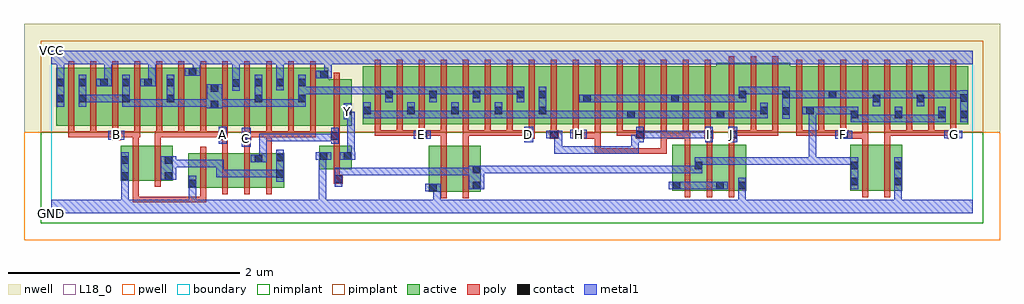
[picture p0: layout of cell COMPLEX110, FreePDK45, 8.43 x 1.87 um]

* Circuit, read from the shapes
.subckt COMPLEX110 A B C D E F G GND H I J VCC Y
M1 n1 B GND VSUBS nfet w=0.3u l=0.05u
M2 n2 A n1 VSUBS nfet w=0.3u l=0.05u
M3 n3 B GND VSUBS nfet w=0.3u l=0.05u
M4 n4 A n3 VSUBS nfet w=0.3u l=0.05u
M5 n5 C n4 VSUBS nfet w=0.3u l=0.05u
M6 n2 C n5 VSUBS nfet w=0.3u l=0.05u
M7 Y n5 GND VSUBS nfet w=0.2u l=0.05u
M8 n6 E GND VSUBS nfet w=0.4u l=0.05u
M9 n5 D n6 VSUBS nfet w=0.4u l=0.05u
M10 n5 H n7 VSUBS nfet w=0.4u l=0.05u
M11 n7 I n5 VSUBS nfet w=0.4u l=0.05u
M12 GND J n7 VSUBS nfet w=0.4u l=0.05u
M13 n8 F n5 VSUBS nfet w=0.4u l=0.05u
M14 GND G n8 VSUBS nfet w=0.4u l=0.05u
M15 n9 B VCC n10 pfet w=0.5u l=0.05u m=4
M16 n9 A VCC n10 pfet w=0.5u l=0.05u m=4
M17 n9 C VCC n10 pfet w=0.5u l=0.05u m=4
M18 Y n5 VCC n10 pfet w=0.4u l=0.05u
M19 n9 E n11 n10 pfet w=0.5u l=0.05u m=4
M20 n9 D n11 n10 pfet w=0.5u l=0.05u m=4
M21 n12 I n11 n10 pfet w=0.5u l=0.05u
M22 n13 H n12 n10 pfet w=0.5u l=0.05u
M23 n14 H n13 n10 pfet w=0.5u l=0.05u
M24 n11 I n14 n10 pfet w=0.5u l=0.05u
M25 n15 I n11 n10 pfet w=0.5u l=0.05u
M26 n13 H n15 n10 pfet w=0.5u l=0.05u
M27 n16 H n13 n10 pfet w=0.5u l=0.05u
M28 n11 I n16 n10 pfet w=0.5u l=0.05u
M29 n13 J n11 n10 pfet w=0.533u l=0.05u m=3
M30 n5 F n13 n10 pfet w=0.5u l=0.05u m=4
M31 n5 G n13 n10 pfet w=0.5u l=0.05u m=4
.ends

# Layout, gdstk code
import gdstk
lib = gdstk.Library(unit=1e-6, precision=1e-09)
def R(c, l, rs):  # rectangles x0, y0, x1, y1
    for r in rs: c.add(gdstk.rectangle(r[:2], r[2:], *l))
def A(c, l, x, y, w, h, nx, ny, dx, dy):  # array of equal rectangles
    R(c, l, [(x+i*dx, y+j*dy, x+i*dx+w, y+j*dy+h) for i in range(nx) for j in range(ny)])
active = (1, 0)
pwell = (2, 0)
nwell = (3, 0)
nimplant = (4, 0)
pimplant = (5, 0)
poly = (9, 0)
contact = (10, 0)
metal1 = (11, 0)
L18_0 = (18, 0)
boundary = (235, 0)

complex110 = lib.new_cell('COMPLEX110')
A(complex110, active, 2.69, 0.767, 0.265, 0.5, 4, 1, 0.19, 0)
A(complex110, active, 2.69, 0.767, 0.075, 0.303, 3, 1, 0.38, 0)
A(complex110, active, 3.635, 0.767, 0.265, 0.5, 3, 1, 0.19, 0)
A(complex110, active, 4.435, 0.767, 0.23, 0.5, 3, 1, 0.38, 0)
A(complex110, active, 4.59, 0.767, 0.225, 0.5, 3, 1, 0.38, 0)
A(complex110, active, 6.71, 0.767, 0.265, 0.5, 4, 1, 0.19, 0)
A(complex110, active, 6.71, 0.807, 0.075, 0.393, 3, 1, 0.38, 0)
R(complex110, active, [(3.26,0.182,3.335,0.582), (3.26,0.182,3.485,0.582), (3.485,0.182,3.71,0.582), (5.365,0.192,5.63,0.592), (5.555,0.192,5.815,0.592), (5.74,0.192,6.005,0.592), (5.93,0.192,6.005,0.592), (6.9,0.192,7.125,0.592), (7.125,0.192,7.35,0.592), (7.275,0.192,7.35,0.592), (3.635,0.2,3.71,0.582), (5.365,0.2,5.44,0.592), (5.74,0.2,5.815,0.492), (6.9,0.2,6.975,0.592), (1.182,0.217,1.257,0.517), (1.182,0.217,1.407,0.517), (1.407,0.217,1.597,0.517), (1.597,0.217,1.827,0.517), (1.752,0.217,2.012,0.517), (1.937,0.217,2.012,0.517), (5.555,0.245,5.63,0.492), (0.6,0.28,0.825,0.58), (0.825,0.28,1.05,0.58), (0.975,0.28,1.05,0.58), (0.6,0.282,0.675,0.58), (1.752,0.33,1.827,0.51), (2.315,0.38,2.39,0.58), (2.315,0.38,2.597,0.58), (2.522,0.38,2.597,0.58), (0.042,0.755,0.307,1.255), (0.042,0.755,0.117,1.255), (0.232,0.755,0.492,1.255), (0.417,0.755,0.682,1.255), (0.607,0.755,0.872,1.255), (0.797,0.755,1.067,1.255), (0.992,0.755,1.257,1.255), (1.182,0.755,1.447,1.255), (1.372,0.755,1.632,1.255), (1.557,0.755,1.827,1.255), (1.752,0.755,2.012,1.255), (1.752,0.755,1.827,1.2), (1.937,0.755,2.202,1.255), (2.127,0.755,2.392,1.255), (2.317,0.755,2.597,1.155), (2.522,0.755,2.597,1.07), (3.45,0.767,3.71,1.267), (3.825,0.767,3.9,1.07), (4.205,0.767,4.435,1.267), (4.97,0.767,5.045,1.07), (5.575,0.767,5.82,1.267), (5.745,0.767,5.82,1.07), (5.745,0.767,6.01,1.3), (5.935,0.767,6.195,1.3), (6.12,0.767,6.195,1.07), (6.12,0.767,6.385,1.3), (6.31,0.767,6.385,1.2), (6.31,0.767,6.59,1.267), (6.515,0.767,6.59,1.07), (6.515,0.767,6.785,1.267), (6.9,0.767,6.975,1.07), (7.28,0.767,7.355,1.07), (7.47,0.767,7.73,1.267), (7.655,0.767,7.92,1.267), (7.655,0.767,7.73,1.07), (7.845,0.767,7.92,1.2), (5.935,0.775,6.01,1.2), (0.232,0.807,0.307,1.2), (0.417,0.807,0.492,1.255), (0.607,0.807,0.682,1.2), (0.797,0.807,0.872,1.255), (0.992,0.807,1.067,1.2), (1.182,0.807,1.257,1.255), (1.372,0.807,1.447,1.2), (1.557,0.807,1.632,1.255), (1.937,0.807,2.012,1.255), (2.127,0.807,2.202,1.2), (2.88,0.807,2.955,1.2), (3.26,0.807,3.335,1.2), (3.635,0.807,3.71,1.2), (4.015,0.807,4.09,1.2), (4.205,0.807,4.28,1.2), (4.59,0.807,4.665,1.2), (5.35,0.807,5.425,1.2), (2.317,0.835,2.392,1.235)])
R(complex110, pwell, [(-0.235,-0.235,8.195,0.7)])
R(complex110, nwell, [(-0.235,0.7,8.195,1.635)])
R(complex110, nimplant, [(-0.09,-0.09,8.05,0.7)])
R(complex110, pimplant, [(-0.09,0.7,8.05,1.49)])
A(complex110, poly, 5.47, 0.137, 0.05, 0.51, 3, 1, 0.19, 0)
A(complex110, poly, 1.287, 0.162, 0.05, 0.41, 4, 1, 0.19, 0)
A(complex110, poly, 5.47, 0.597, 0.05, 0.095, 3, 1, 0.19, 0)
A(complex110, poly, 0.147, 0.655, 0.05, 0.095, 12, 1, 0.19, 0)
A(complex110, poly, 1.857, 0.655, 0.05, 0.05, 3, 1, 0.19, 0)
A(complex110, poly, 2.795, 0.667, 0.05, 0.095, 10, 1, 0.19, 0)
A(complex110, poly, 3.555, 0.667, 0.05, 0.05, 3, 1, 0.19, 0)
A(complex110, poly, 5.85, 0.667, 0.05, 0.095, 3, 1, 0.19, 0)
A(complex110, poly, 6.435, 0.667, 0.05, 0.095, 3, 1, 0.19, 0)
A(complex110, poly, 7.195, 0.667, 0.05, 0.095, 4, 1, 0.19, 0)
A(complex110, poly, 7.195, 0.667, 0.05, 0.05, 3, 1, 0.19, 0)
A(complex110, poly, 0.147, 0.7, 0.05, 0.61, 12, 1, 0.19, 0)
A(complex110, poly, 2.795, 0.712, 0.05, 0.61, 16, 1, 0.19, 0)
A(complex110, poly, 5.85, 0.712, 0.05, 0.643, 3, 1, 0.19, 0)
A(complex110, poly, 6.435, 0.712, 0.05, 0.61, 8, 1, 0.19, 0)
R(complex110, poly, [(0.705,0.092,0.755,0.142), (0.705,0.092,0.755,0.275), (0.705,0.092,1.015,0.142), (0.965,0.092,1.015,0.142), (0.965,0.092,1.015,0.142), (0.965,0.092,1.015,0.142), (0.965,0.092,1.147,0.142), (1.097,0.092,1.147,0.142), (1.097,0.092,1.147,0.142), (1.097,0.092,1.147,0.142), (1.097,0.092,1.337,0.142), (1.287,0.092,1.337,0.142), (1.287,0.092,1.337,0.142), (1.287,0.092,1.337,0.142), (1.287,0.092,1.337,0.212), (3.365,0.127,3.415,0.637), (3.555,0.127,3.605,0.637), (7.005,0.137,7.055,0.647), (7.195,0.137,7.245,0.647), (0.705,0.225,0.755,0.635), (0.895,0.225,0.945,0.635), (2.442,0.255,2.517,0.33), (2.442,0.28,2.492,0.375), (2.442,0.325,2.492,0.635), (4.695,0.51,4.745,0.56), (4.695,0.51,4.745,0.56), (4.695,0.51,4.745,0.56), (4.695,0.51,4.745,0.56), (4.695,0.51,4.745,0.56), (4.695,0.51,4.745,0.692), (4.695,0.51,4.967,0.56), (4.917,0.51,4.967,0.56), (4.917,0.51,4.967,0.56), (4.917,0.51,4.967,0.56), (4.917,0.51,5.182,0.56), (5.132,0.51,5.182,0.56), (5.132,0.51,5.182,0.56), (5.132,0.51,5.182,0.56), (5.132,0.51,5.315,0.56), (5.265,0.51,5.315,0.56), (5.265,0.51,5.315,0.56), (5.265,0.51,5.315,0.56), (5.265,0.51,5.315,0.692), (1.477,0.522,1.527,0.68), (1.667,0.522,1.717,0.68), (1.857,0.522,1.907,0.705), (0.705,0.585,0.755,0.705), (0.895,0.585,0.945,0.705), (2.442,0.585,2.492,0.68), (3.365,0.587,3.415,0.717), (3.555,0.587,3.605,0.717), (7.005,0.597,7.055,0.692), (7.195,0.597,7.245,0.717), (0.527,0.63,0.602,0.705), (1.447,0.63,1.527,0.705), (1.652,0.63,1.727,0.705), (2.415,0.63,2.492,0.705), (3.175,0.642,3.25,0.717), (4.095,0.642,4.175,0.717), (4.307,0.642,4.382,0.717), (4.505,0.642,4.59,0.717), (4.54,0.642,4.59,0.692), (4.54,0.642,4.59,0.692), (4.54,0.642,4.745,0.692), (4.695,0.642,4.745,0.692), (4.695,0.642,4.745,0.762), (5.05,0.642,5.125,0.717), (5.265,0.642,5.315,0.692), (5.265,0.642,5.505,0.692), (5.265,0.642,5.315,0.762), (5.455,0.642,5.505,0.692), (5.455,0.642,5.505,0.692), (5.455,0.642,5.505,0.762), (5.455,0.642,5.52,0.692), (5.642,0.642,5.717,0.717), (5.85,0.642,5.925,0.717), (6.812,0.642,6.887,0.717), (6.837,0.642,7.055,0.692), (7.005,0.642,7.055,0.692), (7.005,0.642,7.055,0.692), (7.005,0.642,7.055,0.692), (7.005,0.642,7.055,0.762), (7.742,0.642,7.817,0.717), (0.147,0.655,0.197,0.705), (0.147,0.655,0.197,0.705), (0.147,0.655,0.197,0.705), (0.147,0.655,0.387,0.705), (0.337,0.655,0.387,0.705), (0.337,0.655,0.387,0.705), (0.337,0.655,0.387,0.705), (0.337,0.655,0.577,0.705), (0.552,0.655,0.755,0.705), (0.705,0.655,0.755,0.705), (0.705,0.655,0.755,0.705), (0.705,0.655,0.767,0.705), (0.895,0.655,0.957,0.705), (0.907,0.655,1.147,0.705), (1.097,0.655,1.147,0.705), (1.097,0.655,1.147,0.705), (1.097,0.655,1.147,0.705), (1.097,0.655,1.337,0.705), (1.287,0.655,1.337,0.705), (1.287,0.655,1.337,0.705), (1.287,0.655,1.337,0.705), (1.287,0.655,1.497,0.705), (1.447,0.655,1.497,0.705), (1.447,0.655,1.497,0.705), (1.677,0.655,1.727,0.705), (1.677,0.655,1.727,0.705), (1.677,0.655,1.907,0.705), (1.857,0.655,1.907,0.705), (1.857,0.655,1.907,0.705), (1.857,0.655,2.097,0.705), (2.047,0.655,2.287,0.705), (2.237,0.655,2.287,0.705), (2.237,0.655,2.287,0.705), (2.442,0.655,2.492,0.75), (2.795,0.667,2.845,0.717), (2.795,0.667,2.845,0.717), (2.795,0.667,2.845,0.717), (2.795,0.667,3.035,0.717), (2.985,0.667,3.035,0.717), (2.985,0.667,3.035,0.717), (2.985,0.667,3.035,0.717), (2.985,0.667,3.225,0.717), (3.2,0.667,3.415,0.717), (3.365,0.667,3.415,0.717), (3.365,0.667,3.415,0.717), (3.365,0.667,3.415,0.717), (3.555,0.667,3.605,0.717), (3.555,0.667,3.605,0.717), (3.555,0.667,3.795,0.717), (3.745,0.667,3.985,0.717), (3.935,0.667,3.985,0.717), (3.935,0.667,3.985,0.717), (3.935,0.667,4.145,0.717), (4.095,0.667,4.145,0.717), (4.095,0.667,4.145,0.717), (4.885,0.667,4.935,0.762), (4.885,0.667,4.935,0.717), (4.885,0.667,4.935,0.717), (4.885,0.667,4.935,0.717), (4.885,0.667,5.1,0.717), (5.075,0.667,5.125,0.762), (5.645,0.667,5.695,0.762), (5.875,0.667,5.925,0.717), (5.875,0.667,5.925,0.717), (5.875,0.667,6.09,0.717), (6.04,0.667,6.09,0.717), (6.04,0.667,6.28,0.717), (6.23,0.667,6.28,0.717), (6.23,0.667,6.28,0.717), (6.23,0.667,6.28,0.717), (6.435,0.667,6.485,0.717), (6.435,0.667,6.485,0.717), (6.435,0.667,6.485,0.717), (6.435,0.667,6.675,0.717), (6.625,0.667,6.675,0.717), (6.625,0.667,6.675,0.717), (6.625,0.667,6.675,0.717), (6.625,0.667,6.862,0.717), (7.195,0.667,7.245,0.717), (7.195,0.667,7.245,0.717), (7.195,0.667,7.435,0.717), (7.385,0.667,7.625,0.717), (7.575,0.667,7.625,0.717), (7.575,0.667,7.625,0.717), (7.575,0.667,7.792,0.717), (7.742,0.667,7.792,0.717), (7.742,0.667,7.792,0.717), (2.442,0.7,2.492,1.21)])
A(complex110, contact, 2.695, 0.855, 0.065, 0.065, 3, 1, 0.38, 0)
A(complex110, contact, 0.422, 1.095, 0.065, 0.065, 3, 1, 0.19, 0)
R(complex110, contact, [(3.265,0.187,3.33,0.252), (3.64,0.205,3.705,0.27), (5.37,0.205,5.435,0.27), (5.745,0.205,5.81,0.27), (5.935,0.205,6,0.27), (1.187,0.222,1.252,0.287), (6.905,0.24,6.97,0.305), (7.28,0.24,7.345,0.305), (2.447,0.26,2.512,0.325), (0.605,0.287,0.67,0.352), (0.98,0.287,1.045,0.352), (1.942,0.307,2.007,0.372), (3.64,0.345,3.705,0.41), (5.56,0.377,5.625,0.442), (6.905,0.38,6.97,0.445), (7.28,0.38,7.345,0.445), (0.605,0.427,0.67,0.492), (0.98,0.427,1.045,0.492), (1.757,0.44,1.822,0.505), (1.942,0.447,2.007,0.512), (2.32,0.462,2.385,0.527), (2.527,0.462,2.592,0.527), (0.532,0.635,0.597,0.7), (1.452,0.635,1.517,0.7), (1.657,0.635,1.722,0.7), (2.42,0.635,2.485,0.7), (3.18,0.647,3.245,0.712), (4.1,0.647,4.165,0.712), (4.312,0.647,4.377,0.712), (4.52,0.647,4.585,0.712), (5.055,0.647,5.12,0.712), (5.647,0.647,5.712,0.712), (5.855,0.647,5.92,0.712), (6.817,0.647,6.882,0.712), (7.747,0.647,7.812,0.712), (4.975,0.82,5.04,0.885), (5.75,0.82,5.815,0.885), (6.905,0.82,6.97,0.885), (7.285,0.82,7.35,0.885), (7.66,0.82,7.725,0.885), (7.85,0.82,7.915,0.885), (2.527,0.847,2.592,0.912), (6.315,0.85,6.38,0.915), (4.21,0.852,4.275,0.917), (6.125,0.852,6.19,0.917), (3.83,0.855,3.895,0.92), (6.52,0.855,6.585,0.92), (1.377,0.907,1.442,0.972), (0.047,0.955,0.112,1.02), (0.237,0.955,0.302,1.02), (0.612,0.955,0.677,1.02), (0.997,0.955,1.062,1.02), (1.757,0.955,1.822,1.02), (2.132,0.955,2.197,1.02), (4.595,0.957,4.66,1.022), (5.355,0.957,5.42,1.022), (7.095,0.957,7.16,1.022), (7.475,0.957,7.54,1.022), (7.85,0.96,7.915,1.025), (6.315,0.99,6.38,1.055), (2.885,0.992,2.95,1.057), (3.265,0.992,3.33,1.057), (3.64,0.992,3.705,1.057), (4.02,0.992,4.085,1.057), (4.21,0.992,4.275,1.057), (5.94,0.992,6.005,1.057), (6.715,0.992,6.78,1.057), (1.377,1.047,1.442,1.112), (1.562,1.092,1.627,1.157), (0.047,1.095,0.112,1.16), (0.237,1.095,0.302,1.16), (0.997,1.095,1.062,1.16), (1.757,1.095,1.822,1.16), (1.942,1.095,2.007,1.16), (2.132,1.095,2.197,1.16), (2.322,1.165,2.387,1.23), (1.187,1.185,1.252,1.25)])
A(complex110, metal1, 2.695, 0.82, 0.065, 0.135, 3, 1, 0.38, 0)
A(complex110, metal1, 3.66, 0.82, 0.202, 0.065, 3, 1, 0.275, 0)
R(complex110, metal1, [(0,0,7.96,0.115), (0.605,0.05,0.67,0.115), (0.605,0.05,0.67,0.115), (0.605,0.05,0.67,0.115), (0.605,0.05,0.67,0.115), (0.605,0.05,0.67,0.317), (1.187,0.05,1.252,0.115), (1.187,0.05,1.252,0.115), (1.187,0.05,1.252,0.115), (1.187,0.05,1.252,0.115), (1.187,0.05,1.252,0.252), (2.31,0.05,2.375,0.115), (2.31,0.05,2.375,0.115), (2.31,0.05,2.375,0.115), (2.31,0.05,2.375,0.115), (2.31,0.05,2.375,0.115), (2.31,0.05,2.375,0.115), (2.31,0.05,2.375,0.527), (3.3,0.05,3.365,0.115), (3.3,0.05,3.365,0.115), (3.3,0.05,3.365,0.252), (5.935,0.05,6,0.235), (7.28,0.05,7.345,0.115), (7.28,0.05,7.345,0.115), (7.28,0.05,7.345,0.27), (5.935,0.17,6,0.235), (5.935,0.17,6,0.235), (5.935,0.17,6,0.305), (1.187,0.187,1.252,0.322), (3.23,0.187,3.365,0.252), (3.605,0.205,3.74,0.41), (5.335,0.205,5.47,0.27), (5.405,0.205,5.487,0.27), (5.422,0.205,5.487,0.27), (5.422,0.205,5.607,0.27), (5.542,0.205,5.607,0.27), (5.542,0.205,5.775,0.27), (5.71,0.205,5.775,0.27), (5.71,0.205,5.775,0.27), (5.71,0.205,5.845,0.27), (6.905,0.205,6.97,0.48), (7.28,0.205,7.345,0.48), (2.447,0.225,2.512,0.36), (0.605,0.252,0.67,0.527), (1.942,0.272,2.007,0.547), (0.945,0.287,1.08,0.492), (2.447,0.295,2.512,0.36), (2.447,0.295,2.512,0.39), (1.427,0.31,1.63,0.375), (1.427,0.31,1.492,0.46), (1.565,0.31,1.63,0.375), (1.565,0.31,1.63,0.375), (1.565,0.31,1.63,0.375), (1.565,0.31,1.787,0.375), (1.722,0.31,1.787,0.375), (1.722,0.31,2.007,0.375), (1.942,0.31,2.007,0.375), (1.942,0.31,2.007,0.375), (2.447,0.325,2.65,0.39), (2.585,0.325,2.65,0.39), (2.585,0.325,2.73,0.39), (2.665,0.325,2.73,0.39), (2.665,0.325,3.002,0.39), (2.937,0.325,3.002,0.39), (2.937,0.325,3.002,0.39), (2.937,0.325,3.002,0.39), (2.937,0.325,3.157,0.39), (3.092,0.325,3.157,0.39), (3.092,0.325,3.157,0.39), (3.092,0.325,3.157,0.39), (3.092,0.325,3.33,0.39), (3.265,0.325,3.33,0.39), (3.265,0.325,3.33,0.39), (3.265,0.325,3.33,0.39), (3.265,0.325,3.467,0.39), (3.402,0.325,3.467,0.39), (3.402,0.325,3.67,0.39), (3.605,0.325,3.67,0.39), (3.605,0.325,3.67,0.39), (3.675,0.342,3.862,0.407), (3.797,0.342,3.862,0.407), (3.797,0.342,3.895,0.407), (3.83,0.342,3.895,0.407), (3.83,0.342,4,0.407), (3.935,0.342,4,0.407), (3.935,0.342,4.137,0.407), (4.072,0.342,4.137,0.407), (4.072,0.342,4.137,0.407), (4.072,0.342,4.137,0.407), (4.072,0.342,4.275,0.407), (4.21,0.342,4.275,0.407), (4.21,0.342,4.412,0.407), (4.347,0.342,4.412,0.407), (4.347,0.342,4.412,0.407), (4.347,0.342,4.412,0.407), (4.347,0.342,4.695,0.407), (4.63,0.342,4.695,0.407), (4.63,0.342,4.695,0.407), (4.63,0.342,4.695,0.407), (4.63,0.342,4.845,0.407), (4.78,0.342,4.845,0.407), (4.78,0.342,4.867,0.407), (4.802,0.342,4.867,0.407), (4.802,0.342,4.982,0.407), (4.917,0.342,4.982,0.407), (4.917,0.342,5.005,0.407), (4.94,0.342,5.005,0.407), (4.94,0.342,5.212,0.407), (5.147,0.342,5.212,0.407), (5.147,0.342,5.212,0.407), (5.147,0.342,5.212,0.407), (5.147,0.342,5.35,0.407), (5.285,0.342,5.35,0.407), (5.285,0.342,5.35,0.407), (5.285,0.342,5.35,0.407), (5.285,0.342,5.487,0.407), (5.422,0.342,5.487,0.407), (5.422,0.342,5.625,0.407), (5.56,0.342,5.625,0.477), (1.015,0.395,1.217,0.46), (1.152,0.395,1.217,0.46), (1.152,0.395,1.217,0.46), (1.152,0.395,1.217,0.46), (1.152,0.395,1.355,0.46), (1.29,0.395,1.355,0.46), (1.29,0.395,1.355,0.46), (1.29,0.395,1.355,0.46), (1.29,0.395,1.492,0.46), (5.56,0.412,5.625,0.477), (5.56,0.412,5.625,0.48), (5.56,0.415,5.762,0.48), (5.697,0.415,5.762,0.48), (5.697,0.415,5.912,0.48), (5.847,0.415,5.912,0.48), (5.847,0.415,6.052,0.48), (5.987,0.415,6.052,0.48), (5.987,0.415,6.052,0.48), (5.987,0.415,6.052,0.48), (5.987,0.415,6.242,0.48), (6.177,0.415,6.242,0.48), (6.177,0.415,6.242,0.48), (6.177,0.415,6.242,0.48), (6.177,0.415,6.38,0.48), (6.315,0.415,6.38,0.48), (6.315,0.415,6.38,0.48), (6.315,0.415,6.38,0.48), (6.315,0.415,6.607,0.48), (6.542,0.415,6.607,0.48), (6.542,0.415,6.607,0.48), (6.542,0.415,6.607,0.48), (6.542,0.415,6.832,0.48), (6.542,0.415,6.607,0.617), (6.767,0.415,6.832,0.48), (6.767,0.415,6.832,0.48), (6.767,0.415,6.832,0.48), (6.767,0.415,6.97,0.48), (1.722,0.44,1.86,0.505), (1.795,0.44,1.86,0.687), (2.285,0.462,2.42,0.527), (2.492,0.462,2.627,0.527), (2.557,0.462,2.622,0.527), (2.557,0.462,2.622,0.527), (2.557,0.462,2.622,0.877), (4.347,0.51,4.412,0.575), (4.347,0.51,4.412,0.712), (4.347,0.51,4.695,0.575), (4.63,0.51,4.695,0.575), (4.63,0.51,4.695,0.575), (4.63,0.51,4.695,0.575), (4.63,0.51,4.832,0.575), (4.767,0.51,4.832,0.575), (4.767,0.51,4.832,0.575), (4.767,0.51,4.832,0.575), (4.767,0.51,4.982,0.575), (4.917,0.51,4.982,0.575), (4.917,0.51,5.075,0.575), (5.01,0.51,5.075,0.575), (5.01,0.51,5.075,0.677), (6.542,0.552,6.607,0.617), (6.542,0.552,6.607,0.617), (6.542,0.552,6.607,0.617), (6.542,0.552,6.607,0.92), (1.647,0.572,1.722,0.735), (1.447,0.6,1.517,0.747), (2.42,0.6,2.485,0.735), (4.085,0.612,4.165,0.747), (5.01,0.612,5.075,0.677), (5.01,0.612,5.12,0.677), (5.055,0.612,5.12,0.747), (5.647,0.612,5.712,0.747), (5.847,0.612,5.927,0.747), (2.132,0.62,2.197,0.685), (2.132,0.62,2.197,0.685), (2.132,0.62,2.347,0.685), (2.132,0.62,2.197,0.687), (2.282,0.62,2.347,0.685), (2.282,0.62,2.347,0.685), (2.282,0.62,2.347,0.685), (2.282,0.62,2.485,0.685), (1.795,0.622,1.86,0.687), (1.795,0.622,2.06,0.687), (1.995,0.622,2.06,0.687), (1.995,0.622,2.06,0.687), (1.995,0.622,2.06,0.687), (1.995,0.622,2.197,0.687), (0.492,0.635,0.632,0.712), (6.772,0.64,6.917,0.712), (3.132,0.642,3.28,0.712), (4.277,0.647,4.412,0.712), (4.347,0.647,4.412,0.712), (4.347,0.647,4.412,0.712), (4.485,0.647,4.627,0.72), (5.055,0.647,5.212,0.712), (5.147,0.647,5.212,0.712), (5.147,0.647,5.35,0.712), (5.285,0.647,5.35,0.712), (5.285,0.647,5.35,0.712), (5.285,0.647,5.35,0.712), (5.285,0.647,5.487,0.712), (5.422,0.647,5.487,0.712), (5.422,0.647,5.607,0.712), (5.542,0.647,5.607,0.712), (5.542,0.647,5.712,0.712), (7.712,0.647,7.867,0.712), (6.905,0.785,6.97,0.92), (6.905,0.785,6.995,0.85), (6.93,0.785,6.995,0.85), (6.93,0.785,7.16,0.85), (7.095,0.785,7.16,0.85), (7.095,0.785,7.16,0.85), (7.095,0.785,7.16,0.85), (7.095,0.785,7.35,0.85), (7.285,0.785,7.35,0.85), (7.285,0.785,7.35,0.85), (7.285,0.785,7.35,0.92), (7.285,0.785,7.54,0.85), (7.475,0.785,7.54,0.85), (7.475,0.785,7.54,0.85), (7.475,0.785,7.54,0.85), (7.475,0.785,7.725,0.85), (7.66,0.785,7.725,0.92), (7.85,0.785,7.915,1.06), (2.527,0.812,2.592,0.877), (2.527,0.812,2.592,0.947), (2.527,0.812,2.622,0.877), (6.315,0.815,6.38,1.09), (4.21,0.817,4.275,1.092), (6.125,0.817,6.19,0.952), (2.695,0.82,2.76,0.885), (2.695,0.82,2.76,0.885), (2.695,0.82,3.002,0.885), (2.937,0.82,3.002,0.885), (2.937,0.82,3.002,0.885), (2.937,0.82,3.002,0.885), (2.937,0.82,3.14,0.885), (3.075,0.82,3.14,0.885), (3.075,0.82,3.14,0.885), (3.075,0.82,3.295,0.885), (3.23,0.82,3.295,0.885), (3.23,0.82,3.295,0.885), (3.23,0.82,3.295,0.885), (3.23,0.82,3.52,0.885), (3.455,0.82,3.725,0.885), (3.66,0.82,3.725,0.885), (3.66,0.82,3.725,0.885), (3.66,0.82,3.725,0.885), (3.797,0.82,3.862,0.885), (3.797,0.82,3.895,0.885), (3.83,0.82,3.895,0.955), (3.83,0.82,4,0.885), (3.935,0.82,4,0.885), (4.072,0.82,4.137,0.885), (4.072,0.82,4.137,0.885), (4.072,0.82,4.137,0.885), (4.072,0.82,4.275,0.885), (4.347,0.82,4.412,0.885), (4.347,0.82,4.412,0.885), (4.347,0.82,4.412,0.885), (4.347,0.82,4.695,0.885), (4.63,0.82,4.695,0.885), (4.63,0.82,4.695,0.885), (4.63,0.82,4.695,0.885), (4.63,0.82,4.845,0.885), (4.78,0.82,4.845,0.885), (4.78,0.82,4.867,0.885), (4.802,0.82,4.867,0.885), (4.802,0.82,4.982,0.885), (4.917,0.82,4.982,0.885), (4.917,0.82,5.005,0.885), (4.94,0.82,5.075,0.885), (5.01,0.82,5.212,0.885), (5.147,0.82,5.212,0.885), (5.147,0.82,5.212,0.885), (5.147,0.82,5.212,0.885), (5.147,0.82,5.35,0.885), (5.285,0.82,5.35,0.885), (5.285,0.82,5.35,0.885), (5.285,0.82,5.35,0.885), (5.285,0.82,5.487,0.885), (5.422,0.82,5.487,0.885), (5.422,0.82,5.607,0.885), (5.542,0.82,5.607,0.885), (5.542,0.82,5.775,0.885), (5.71,0.82,5.775,0.885), (5.71,0.82,5.78,0.885), (5.715,0.82,5.85,0.885), (5.785,0.82,5.912,0.885), (5.847,0.82,5.912,0.885), (5.847,0.82,6.052,0.885), (5.987,0.82,6.052,0.885), (5.987,0.82,6.052,0.885), (5.987,0.82,6.052,0.885), (5.987,0.82,6.19,0.885), (6.485,0.855,6.62,0.92), (6.542,0.855,6.607,0.92), (6.542,0.855,6.607,0.92), (6.542,0.855,6.607,0.92), (6.542,0.855,6.607,0.92), (6.542,0.855,6.607,0.92), (6.542,0.855,6.607,0.92), (6.542,0.855,6.832,0.92), (6.767,0.855,6.832,0.92), (6.767,0.855,6.857,0.92), (6.792,0.855,6.857,0.92), (6.792,0.855,6.97,0.92), (1.342,0.907,1.477,1.112), (0.047,0.92,0.112,1.195), (0.237,0.92,0.302,1.195), (0.612,0.92,0.677,1.195), (0.612,0.92,0.872,0.985), (0.807,0.92,0.872,0.985), (0.807,0.92,0.872,0.985), (0.807,0.92,0.872,0.985), (0.807,0.92,1.062,0.985), (0.997,0.92,1.062,0.985), (0.997,0.92,1.062,0.985), (0.997,0.92,1.062,1.195), (0.997,0.92,1.217,0.985), (1.152,0.92,1.217,0.985), (1.152,0.92,1.217,0.985), (1.152,0.92,1.217,0.985), (1.152,0.92,1.355,0.985), (1.29,0.92,1.355,0.985), (1.29,0.92,1.407,0.985), (1.412,0.92,1.492,0.985), (1.427,0.92,1.492,0.985), (1.427,0.92,1.65,0.985), (1.585,0.92,1.65,0.985), (1.585,0.92,1.65,0.985), (1.585,0.92,1.65,0.985), (1.585,0.92,1.822,0.985), (1.757,0.92,1.822,1.195), (1.757,0.92,1.997,0.985), (1.932,0.92,1.997,0.985), (1.932,0.92,1.997,0.985), (1.932,0.92,1.997,0.985), (1.932,0.92,2.197,0.985), (2.132,0.92,2.197,0.985), (2.132,0.92,2.197,0.985), (2.132,0.92,2.197,1.195), (7.095,0.922,7.16,1.057), (7.475,0.922,7.54,1.057), (0.237,0.957,0.302,1.022), (0.237,0.957,0.302,1.022), (0.237,0.957,0.532,1.022), (0.467,0.957,0.532,1.022), (0.467,0.957,0.532,1.022), (0.467,0.957,0.532,1.022), (0.467,0.957,0.677,1.022), (2.885,0.957,2.95,1.092), (3.265,0.957,3.33,1.092), (3.64,0.957,3.705,1.092), (4.02,0.957,4.085,1.092), (4.56,0.957,4.695,1.022), (4.63,0.957,4.832,1.022), (4.767,0.957,4.832,1.022), (4.767,0.957,4.832,1.022), (4.767,0.957,4.832,1.022), (4.767,0.957,4.982,1.022), (4.917,0.957,4.982,1.022), (4.917,0.957,5.075,1.022), (5.01,0.957,5.075,1.022), (5.01,0.957,5.212,1.022), (5.147,0.957,5.212,1.022), (5.147,0.957,5.212,1.022), (5.147,0.957,5.212,1.022), (5.147,0.957,5.35,1.022), (5.285,0.957,5.35,1.022), (5.285,0.957,5.385,1.022), (5.32,0.957,5.455,1.022), (5.39,0.957,5.487,1.022), (5.422,0.957,5.487,1.022), (5.422,0.957,5.607,1.022), (5.542,0.957,5.607,1.022), (5.542,0.957,5.775,1.022), (5.71,0.957,5.775,1.022), (5.71,0.957,5.775,1.022), (5.71,0.957,5.775,1.022), (5.71,0.957,5.912,1.022), (5.847,0.957,5.912,1.022), (5.847,0.957,6.005,1.022), (5.94,0.957,6.005,1.092), (6.315,0.992,6.412,1.057), (6.347,0.992,6.412,1.057), (6.347,0.992,6.607,1.057), (6.542,0.992,6.607,1.057), (6.542,0.992,6.607,1.057), (6.542,0.992,6.607,1.057), (6.542,0.992,6.745,1.057), (6.68,0.992,6.815,1.057), (6.75,0.992,6.815,1.057), (6.75,0.992,6.815,1.057), (6.75,0.992,7.022,1.057), (6.957,0.992,7.022,1.057), (6.957,0.992,7.022,1.057), (6.957,0.992,7.022,1.057), (6.957,0.992,7.16,1.057), (7.095,0.992,7.16,1.057), (7.095,0.992,7.16,1.057), (7.095,0.992,7.402,1.057), (7.337,0.992,7.402,1.057), (7.337,0.992,7.402,1.057), (7.337,0.992,7.402,1.057), (7.337,0.992,7.54,1.057), (7.475,0.992,7.54,1.057), (7.475,0.992,7.54,1.057), (7.475,0.992,7.777,1.057), (7.712,0.992,7.777,1.057), (7.712,0.992,7.915,1.057), (7.85,0.992,7.915,1.057), (7.85,0.992,7.915,1.057), (5.94,1.025,6.105,1.09), (6.04,1.025,6.105,1.09), (6.04,1.025,6.242,1.09), (6.177,1.025,6.242,1.09), (6.177,1.025,6.242,1.09), (6.177,1.025,6.242,1.09), (6.177,1.025,6.38,1.09), (2.132,1.027,2.347,1.092), (2.282,1.027,2.347,1.092), (2.282,1.027,2.347,1.092), (2.282,1.027,2.347,1.092), (2.282,1.027,2.512,1.092), (2.447,1.027,2.512,1.092), (2.447,1.027,2.512,1.092), (2.447,1.027,2.512,1.092), (2.447,1.027,2.73,1.092), (2.665,1.027,2.73,1.092), (2.665,1.027,2.73,1.092), (2.665,1.027,2.73,1.092), (2.665,1.027,2.95,1.092), (2.885,1.027,2.95,1.092), (2.885,1.027,2.95,1.092), (2.885,1.027,3.157,1.092), (3.092,1.027,3.157,1.092), (3.092,1.027,3.157,1.092), (3.092,1.027,3.157,1.092), (3.092,1.027,3.33,1.092), (3.265,1.027,3.532,1.092), (3.467,1.027,3.532,1.092), (3.467,1.027,3.532,1.092), (3.467,1.027,3.532,1.092), (3.467,1.027,3.67,1.092), (3.605,1.027,3.67,1.092), (3.605,1.027,3.705,1.092), (3.64,1.027,3.862,1.092), (3.797,1.027,3.862,1.092), (3.797,1.027,3.877,1.092), (3.812,1.027,3.877,1.092), (3.812,1.027,4,1.092), (3.935,1.027,4,1.092), (3.935,1.027,4.085,1.092), (1.562,1.057,1.627,1.192), (1.942,1.06,2.007,1.195), (0.387,1.095,0.522,1.16), (0.457,1.095,0.522,1.35), (0.767,1.095,0.902,1.16), (0.837,1.095,0.902,1.35), (1.562,1.127,1.627,1.35), (0.047,1.13,0.112,1.35), (1.942,1.13,2.007,1.35), (2.287,1.165,2.422,1.23), (2.357,1.165,2.422,1.35), (1.152,1.185,1.287,1.25), (1.222,1.185,1.287,1.35), (0,1.285,7.96,1.4)])
A(complex110, L18_0, 5.847, 0.647, 0.065, 0.065, 3, 1, 0.96, 0)
R(complex110, L18_0, [(0,0,7.96,0.115), (0.605,0.05,0.67,0.115), (0.605,0.05,0.67,0.115), (0.605,0.05,0.67,0.115), (0.605,0.05,0.67,0.115), (0.605,0.05,0.67,0.317), (1.187,0.05,1.252,0.115), (1.187,0.05,1.252,0.115), (1.187,0.05,1.252,0.115), (1.187,0.05,1.252,0.115), (1.187,0.05,1.252,0.252), (2.31,0.05,2.375,0.115), (2.31,0.05,2.375,0.115), (2.31,0.05,2.375,0.115), (2.31,0.05,2.375,0.115), (2.31,0.05,2.375,0.115), (2.31,0.05,2.375,0.115), (2.31,0.05,2.375,0.527), (3.3,0.05,3.365,0.115), (3.3,0.05,3.365,0.115), (3.3,0.05,3.365,0.252), (5.935,0.05,6,0.235), (7.28,0.05,7.345,0.27), (7.28,0.05,7.345,0.115), (7.28,0.05,7.345,0.115), (5.935,0.17,6,0.235), (5.935,0.17,6,0.235), (5.935,0.17,6,0.305), (1.187,0.187,1.252,0.322), (3.23,0.187,3.365,0.252), (7.28,0.205,7.345,0.48), (0.605,0.252,0.67,0.527), (2.285,0.462,2.42,0.527), (2.492,0.462,2.627,0.527), (2.557,0.462,2.622,0.527), (2.557,0.462,2.622,0.527), (2.557,0.462,2.622,0.877), (4.347,0.51,4.412,0.575), (4.347,0.51,4.412,0.712), (4.347,0.51,4.695,0.575), (4.63,0.51,4.695,0.575), (4.63,0.51,4.695,0.575), (4.63,0.51,4.695,0.575), (4.63,0.51,4.832,0.575), (4.767,0.51,4.832,0.575), (4.767,0.51,4.832,0.575), (4.767,0.51,4.832,0.575), (4.767,0.51,4.982,0.575), (4.917,0.51,4.982,0.575), (4.917,0.51,5.075,0.575), (5.01,0.51,5.075,0.575), (5.01,0.51,5.075,0.677), (1.647,0.572,1.722,0.735), (1.447,0.6,1.517,0.747), (1.647,0.607,1.712,0.672), (4.085,0.612,4.165,0.747), (5.01,0.612,5.075,0.677), (5.01,0.612,5.12,0.677), (5.055,0.612,5.12,0.747), (5.647,0.612,5.712,0.747), (5.847,0.612,5.927,0.747), (0.492,0.635,0.632,0.712), (6.772,0.64,6.917,0.712), (3.132,0.642,3.28,0.712), (0.527,0.647,0.592,0.712), (1.447,0.647,1.512,0.712), (3.167,0.647,3.232,0.712), (4.087,0.647,4.152,0.712), (4.277,0.647,4.412,0.712), (4.347,0.647,4.412,0.712), (4.347,0.647,4.412,0.712), (4.485,0.647,4.627,0.72), (4.527,0.647,4.592,0.712), (5.055,0.647,5.212,0.712), (5.147,0.647,5.212,0.712), (5.147,0.647,5.35,0.712), (5.285,0.647,5.35,0.712), (5.285,0.647,5.35,0.712), (5.285,0.647,5.35,0.712), (5.285,0.647,5.487,0.712), (5.422,0.647,5.487,0.712), (5.422,0.647,5.607,0.712), (5.542,0.647,5.607,0.712), (5.542,0.647,5.712,0.712), (5.647,0.647,5.712,0.712), (7.712,0.647,7.867,0.712), (2.527,0.812,2.592,0.877), (2.527,0.812,2.592,0.947), (2.527,0.812,2.622,0.877), (2.527,0.847,2.592,0.912), (0.047,0.92,0.112,1.195), (1.562,1.057,1.627,1.192), (1.942,1.06,2.007,1.195), (0.387,1.095,0.522,1.16), (0.457,1.095,0.522,1.35), (0.767,1.095,0.902,1.16), (0.837,1.095,0.902,1.35), (1.562,1.127,1.627,1.35), (0.047,1.13,0.112,1.35), (1.942,1.13,2.007,1.35), (2.287,1.165,2.422,1.23), (2.357,1.165,2.422,1.35), (1.152,1.185,1.287,1.25), (1.222,1.185,1.287,1.35), (0,1.285,7.96,1.4)])
R(complex110, boundary, [(0,0,7.96,1.4)])
complex110.add(gdstk.Label('A', (1.48,0.68), layer=11, texttype=0))
complex110.add(gdstk.Label('B', (0.56,0.68), layer=11, texttype=0))
complex110.add(gdstk.Label('C', (1.68,0.64), layer=11, texttype=0))
complex110.add(gdstk.Label('D', (4.12,0.68), layer=11, texttype=0))
complex110.add(gdstk.Label('E', (3.2,0.68), layer=11, texttype=0))
complex110.add(gdstk.Label('F', (6.84,0.68), layer=11, texttype=0))
complex110.add(gdstk.Label('G', (7.8,0.68), layer=11, texttype=0))
complex110.add(gdstk.Label('H', (4.56,0.68), layer=11, texttype=0))
complex110.add(gdstk.Label('I', (5.68,0.68), layer=11, texttype=0))
complex110.add(gdstk.Label('J', (5.88,0.68), layer=11, texttype=0))
complex110.add(gdstk.Label('Y', (2.56,0.88), layer=11, texttype=0))
complex110.add(gdstk.Label('VCC', (0,1.4), layer=11, texttype=0))
complex110.add(gdstk.Label('GND', (0,0), layer=11, texttype=0))

lib.write_gds('COMPLEX110.gds')
